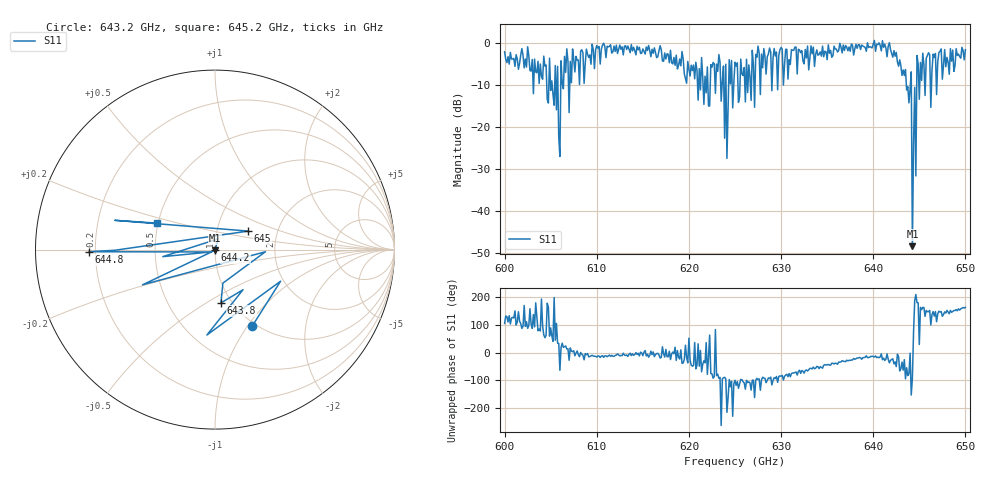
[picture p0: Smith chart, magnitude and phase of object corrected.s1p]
!Created with skrf (http://scikit-rf.org).
# GHz S MA R 50.0
!freq magS11 angS11
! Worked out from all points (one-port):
!   401 points, 600 GHz to 650 GHz, reference 50 ohm
!   lowest |S11| = -48.4 dB at 644.2 GHz (marker M1), VSWR 1.01, Z = 50 - j0.378 ohm
!   |S11| at or under -10 dB: 604.571 GHz to 604.8012 GHz (230.1 MHz wide, 0.0381 % of centre); 643.592 GHz to 644.0314 GHz (439.4 MHz wide, 0.0683 % of centre); 644.1342 GHz to 644.7198 GHz (585.6 MHz wide, 0.0909 % of centre) (the widest 3 of 33)
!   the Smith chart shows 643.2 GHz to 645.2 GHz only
!   S11 on the Smith chart (normalised r, x): 643.2 GHz: 0.96, -1.05; 643.8 GHz: 0.89, -0.58; 644.2 GHz: 1.00, -0.01; 644.8 GHz: 0.17, -0.01; 645 GHz: 1.42, +0.31; 645.2 GHz: 0.49, +0.17
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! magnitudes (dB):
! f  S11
! 600 GHz  -2.2
! 604.2 GHz  -3.2
! 605.5 GHz  -5.4
! 605.8 GHz  -5.6
! 606.1 GHz  -4.3
! 606.2 GHz  -9.6
! 606.6 GHz  -7.1
! 612.5 GHz  -0.6
! 618.8 GHz  -6.3
! 622 GHz  -5.8
! 623.1 GHz  -6.8
! 623.5 GHz  -13.9
! 624 GHz  -5.1
! 625 GHz  -4.6
! 631.2 GHz  -1.8
! 637.5 GHz  -2.1
! 641.5 GHz  -3.3
! 643.2 GHz  -6.5
! 643.8 GHz  -10.5
! 643.9 GHz  -14.3
! 644.1 GHz  -7.0
! 644.2 GHz  -48.4
! 644.5 GHz  -10.6
! 644.6 GHz  -31.7
! 644.8 GHz  -3.1
! 645 GHz  -13.5
! 645.2 GHz  -9.0
! 650 GHz  -1.7
